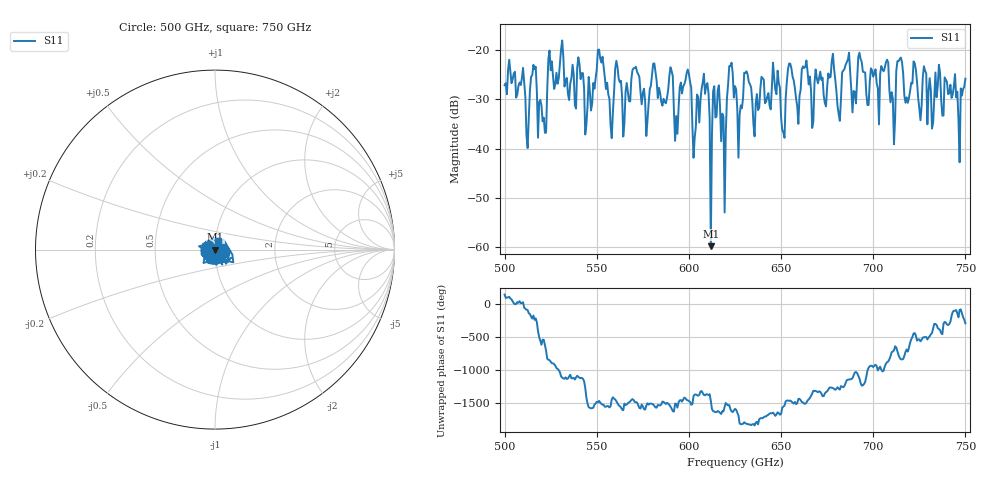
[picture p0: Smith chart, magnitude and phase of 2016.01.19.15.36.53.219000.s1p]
!Created with skrf (http://scikit-rf.org).
# GHz S RI R 50.0
!freq ReS11 ImS11
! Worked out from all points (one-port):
!   401 points, 500 GHz to 750 GHz, reference 50 ohm
!   lowest |S11| = -59.7 dB at 611.9 GHz (marker M1), VSWR 1.00, Z = 50.1 - j0.0459 ohm
!   |S11| at or under -10 dB: start of sweep to end of sweep
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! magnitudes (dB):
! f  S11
! 500 GHz  -27.2
! 512.5 GHz  -39.9
! 515.6 GHz  -23.1
! 521.2 GHz  -33.7
! 524.4 GHz  -20.2
! 531.2 GHz  -18.1
! 545 GHz  -31.3
! 551.9 GHz  -21.7
! 557.5 GHz  -35.4
! 562.5 GHz  -26.6
! 577.5 GHz  -34.4
! 590 GHz  -23.6
! 593.8 GHz  -37.0
! 599.4 GHz  -24.0
! 603.1 GHz  -37.8
! 608.8 GHz  -28.9
! 611.9 GHz  -59.7
! 618.8 GHz  -33.6
! 625 GHz  -27.4
! 646.9 GHz  -28.1
! 651.2 GHz  -36.8
! 656.2 GHz  -25.5
! 687.5 GHz  -24.6
! 706.9 GHz  -22.6
! 710.6 GHz  -29.9
! 714.4 GHz  -21.9
! 718.8 GHz  -30.7
! 750 GHz  -25.9
